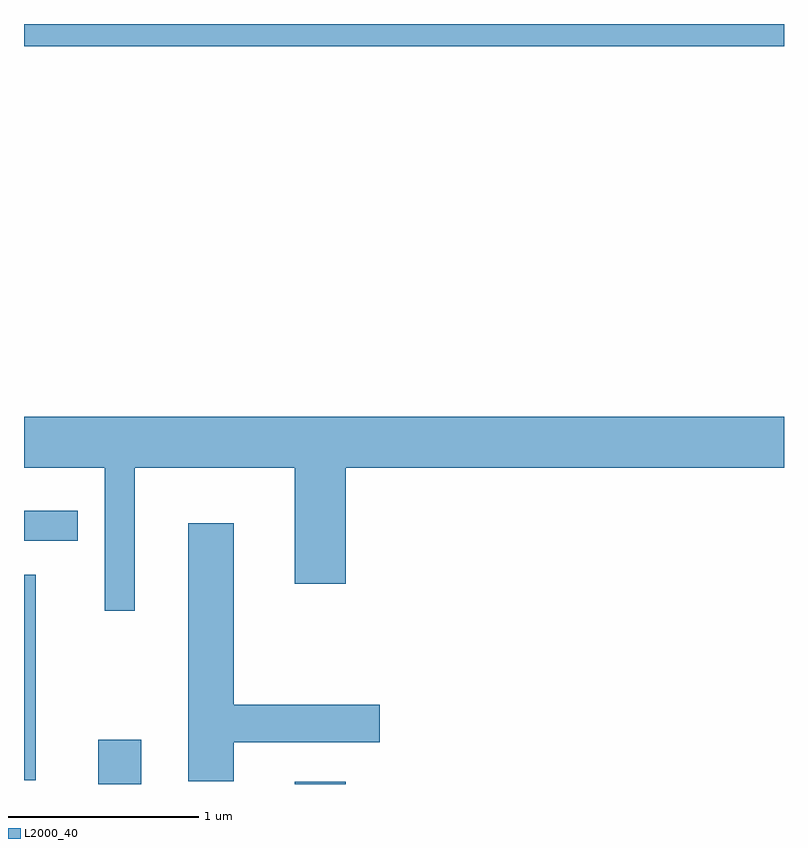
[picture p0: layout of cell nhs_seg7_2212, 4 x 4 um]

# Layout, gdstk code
import gdstk
lib = gdstk.Library(unit=1e-6, precision=1e-09)
def R(c, l, rs):  # rectangles x0, y0, x1, y1
    for r in rs: c.add(gdstk.rectangle(r[:2], r[2:], *l))
def P(c, l, *ps):  # polygons
    for p in ps: c.add(gdstk.Polygon(p, *l))
L2000_40 = (2000, 40)

nhs_seg7_2212 = lib.new_cell('nhs_seg7_2212')
R(nhs_seg7_2212, L2000_40, [(254.001,1668.252,254.229,1668.484), (255.036,1668.252,255.304,1668.264), (253.611,1668.273,253.674,1669.353), (253.611,1669.531,253.893,1669.689), (253.611,1672.136,257.611,1672.252)])
P(nhs_seg7_2212, L2000_40, [(253.611,1669.916),(254.036,1669.916),(254.036,1669.163),(254.194,1669.163),(254.194,1669.916),(255.036,1669.916),(255.036,1669.306),(255.304,1669.306),(255.304,1669.916),(257.611,1669.916),(257.611,1670.184),(253.611,1670.184)],
  [(254.714,1668.471),(255.484,1668.471),(255.484,1668.669),(254.714,1668.669),(254.714,1669.624),(254.476,1669.624),(254.476,1668.266),(254.714,1668.266)])

lib.write_gds('nhs_seg7_2212.gds')
